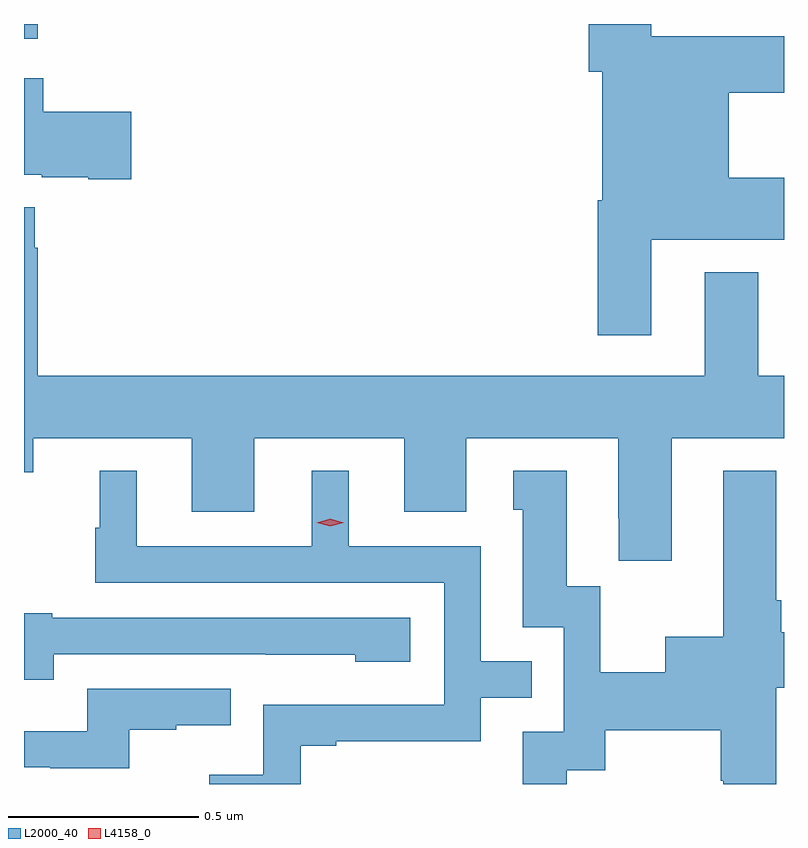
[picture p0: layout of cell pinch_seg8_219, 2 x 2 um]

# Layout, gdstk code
import gdstk
lib = gdstk.Library(unit=1e-6, precision=1e-09)
def R(c, l, rs):  # rectangles x0, y0, x1, y1
    for r in rs: c.add(gdstk.rectangle(r[:2], r[2:], *l))
def P(c, l, *ps):  # polygons
    for p in ps: c.add(gdstk.Polygon(p, *l))
L2000_40 = (2000, 40)
L4158_0 = (4158, 0)

pinch_seg8_219 = lib.new_cell('pinch_seg8_219')
R(pinch_seg8_219, L2000_40, [(669.595,1106.895,669.631,1106.934)])
P(pinch_seg8_219, L2000_40, [(671.245,1106.366),(671.595,1106.366),(671.595,1106.53),(671.449,1106.53),(671.449,1106.753),(671.595,1106.753),(671.595,1106.902),(671.245,1106.902),(671.245,1106.934),(671.081,1106.934),(671.081,1106.808),(671.117,1106.808),(671.117,1106.47),(671.105,1106.47),(671.105,1106.115),(671.245,1106.115)],
  [(669.877,1106.703),(669.646,1106.703),(669.646,1106.791),(669.595,1106.791),(669.595,1106.537),(669.642,1106.537),(669.642,1106.531),(669.764,1106.531),(669.764,1106.525),(669.877,1106.525)],
  [(671.299,1105.844),(671.595,1105.844),(671.595,1106.008),(671.527,1106.008),(671.527,1106.281),(671.387,1106.281),(671.387,1106.008),(669.631,1106.008),(669.631,1106.345),(669.623,1106.345),(669.623,1106.452),(669.595,1106.452),(669.595,1105.754),(669.619,1105.754),(669.619,1105.844),(670.037,1105.844),(670.037,1105.65),(670.201,1105.65),(670.201,1105.844),(670.595,1105.844),(670.595,1105.65),(670.759,1105.65),(670.759,1105.844),(671.159,1105.844),(671.159,1105.633),(671.16,1105.633),(671.16,1105.521),(671.299,1105.521)],
  [(671.023,1104.97),(671.125,1104.97),(671.125,1105.076),(671.428,1105.076),(671.428,1104.942),(671.435,1104.942),(671.435,1104.934),(671.575,1104.934),(671.575,1105.187),(671.595,1105.187),(671.595,1105.334),(671.588,1105.334),(671.588,1105.417),(671.575,1105.417),(671.575,1105.759),(671.435,1105.759),(671.435,1105.321),(671.282,1105.321),(671.282,1105.228),(671.112,1105.228),(671.112,1105.455),(671.023,1105.455),(671.023,1105.759),(670.883,1105.759),(670.883,1105.656),(670.907,1105.656),(670.907,1105.347),(671.016,1105.347),(671.016,1105.071),(670.907,1105.071),(670.907,1104.934),(671.023,1104.934)],
  [(670.323,1105.035),(670.417,1105.035),(670.417,1105.047),(670.797,1105.047),(670.797,1105.161),(670.931,1105.161),(670.931,1105.257),(670.797,1105.257),(670.797,1105.56),(670.45,1105.56),(670.45,1105.759),(670.352,1105.759),(670.352,1105.56),(669.892,1105.56),(669.892,1105.759),(669.794,1105.759),(669.794,1105.608),(669.783,1105.608),(669.783,1105.464),(670.701,1105.464),(670.701,1105.143),(670.224,1105.143),(670.224,1104.958),(670.083,1104.958),(670.083,1104.934),(670.323,1104.934)],
  [(669.673,1105.275),(670.231,1105.275),(670.231,1105.274),(670.467,1105.274),(670.467,1105.256),(670.612,1105.256),(670.612,1105.371),(669.669,1105.371),(669.669,1105.384),(669.595,1105.384),(669.595,1105.208),(669.673,1105.208)],
  [(669.872,1105.077),(669.995,1105.077),(669.995,1105.088),(670.139,1105.088),(670.139,1105.185),(669.762,1105.185),(669.762,1105.073),(669.595,1105.073),(669.595,1104.978),(669.664,1104.978),(669.664,1104.975),(669.872,1104.975)])
P(pinch_seg8_219, L4158_0, [(670.401,1105.612),(670.366,1105.621),(670.365,1105.622),(670.366,1105.622),(670.401,1105.632),(670.436,1105.622),(670.437,1105.622),(670.436,1105.622)])

lib.write_gds('pinch_seg8_219.gds')
